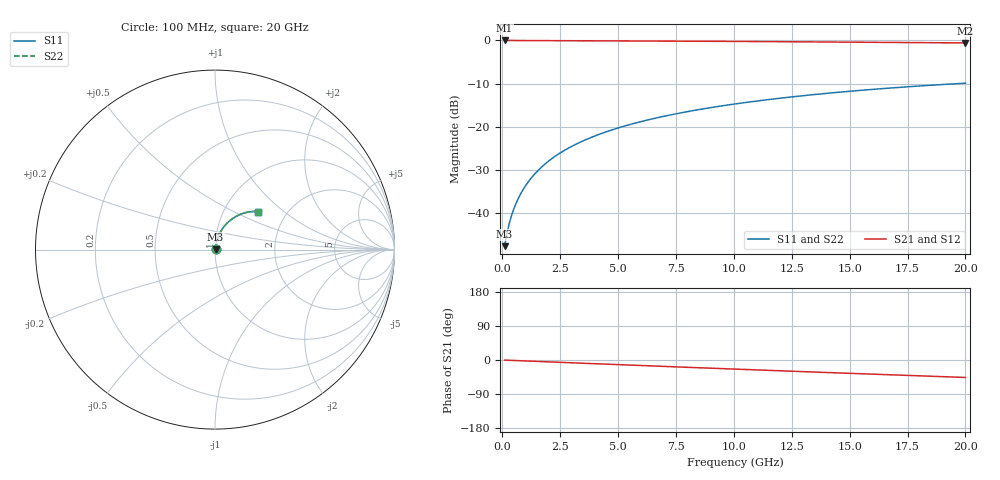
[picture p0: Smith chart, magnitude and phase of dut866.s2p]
! Touchstone file exported from HFSS 2026.1.0
!  File:  C:/ffzhzh/LocalFiles/Ansys_Project_Files/temp_train_TMRDL_866_1783157233_43440.aedt
!  Generated:  05:28:26 PM Jul  4, 2026
!  Design:  TMRDL
!  Project:  temp_train_TMRDL_866_1783157233_43440
! Variables:
!  h_bsmrdl = 2um
!  h_ox = 20um
!  h_rdl = 5um
!  h_sub = 80um
!  h_tmrdl = 4um
!  h_tsv = 80um
!  h_via = 3um
!  l_bsmrdl = 300um
!  l_sub = 1145.96um
!  l_tmrdl = 745.96um
!  m_sub = 200um
!  pitch = 35.95um
!  r_tsv = 6um
!  s_tmrdl = 10um
!  w_bsmrdl = 18um
!  w_sub = 500um
!  w_tmrdl = 19.99um
!  x_tsv_center1 = 755.955um
!  x_tsv_center2 = 1073.955um
!  x_tsv_center3 = 1839.905um
!  x_tsv_center4 = 2157.905um
!  x_tsv_center5 = 2923.855um
!  x_tsv_center6 = 3241.855um
# GHz S MA R 50.000000
! Terminal data exported
! Port[1] = TM_RDL1_1_T1
! Port[2] = TM_RDL1_1_T2
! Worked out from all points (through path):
!   200 points, 100 MHz to 20 GHz, reference 50 ohm
!   highest |S21| = -0.03 dB at 100 MHz (marker M1); lowest = -0.6 dB at 20 GHz (marker M2)
!   group delay of S21, straight-line fit = 6.39 ps
!   lowest |S11| = -47.6 dB at 100 MHz (marker M3), VSWR 1.01, Z = 50.3 + j0.231 ohm
!   |S11| at or under -10 dB: start of sweep to 19.69 GHz
!   |S22| runs from -47.6 to -9.9 dB; largest |S21 - S12| = 3.5e-15
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0.1  0.00418 33.4  0.9965 -0.3  0.9965 -0.3  0.00418 33.4
! Gamma 0 0 0 0
! Port Impedance 50 0 50 0
0.2  0.00582 50.1  0.9963 -0.5  0.9963 -0.5  0.00582 50.1
0.3  0.007628 58.4  0.9961 -0.8  0.9961 -0.8  0.007628 58.4
0.4  0.00946 63.5  0.9959 -1.0  0.9959 -1.0  0.00946 63.5
0.5  0.01131 66.9  0.9958 -1.3  0.9958 -1.3  0.01131 66.9
0.6  0.01317 69.5  0.9956 -1.5  0.9956 -1.5  0.01317 69.5
0.8  0.01695 72.8  0.9954 -2.0  0.9954 -2.0  0.01695 72.8
1.1  0.02272 75.6  0.9952 -2.7  0.9952 -2.7  0.02272 75.6
1.3  0.0266 76.6  0.995 -3.2  0.995 -3.2  0.0266 76.6
1.6  0.03244 77.4  0.9946 -4.0  0.9946 -4.0  0.03244 77.4
2.1  0.04217 77.8  0.994 -5.2  0.994 -5.2  0.04217 77.8
2.7  0.05379 77.4  0.993 -6.7  0.993 -6.7  0.05378 77.4
3.5  0.06909 76.2  0.9914 -8.6  0.9914 -8.6  0.06908 76.3
4.2  0.08227 75.0  0.9898 -10.3  0.9898 -10.3  0.08227 75.0
5  0.09708 73.4  0.9878 -12.2  0.9878 -12.2  0.09707 73.4
5.9  0.1134 71.5  0.9853 -14.4  0.9853 -14.4  0.1134 71.5
6.8  0.1294 69.5  0.9826 -16.5  0.9826 -16.5  0.1294 69.6
8.3  0.1552 66.3  0.9778 -20.0  0.9778 -20.0  0.1552 66.3
10.1  0.1848 62.3  0.9716 -24.2  0.9716 -24.2  0.1848 62.4
13.4  0.2352 55.2  0.9593 -31.7  0.9593 -31.7  0.2352 55.3
16.7  0.2803 48.2  0.9462 -39.0  0.9462 -39.0  0.2803 48.4
20  0.3197 41.4  0.9331 -46.1  0.9331 -46.1  0.3196 41.5
